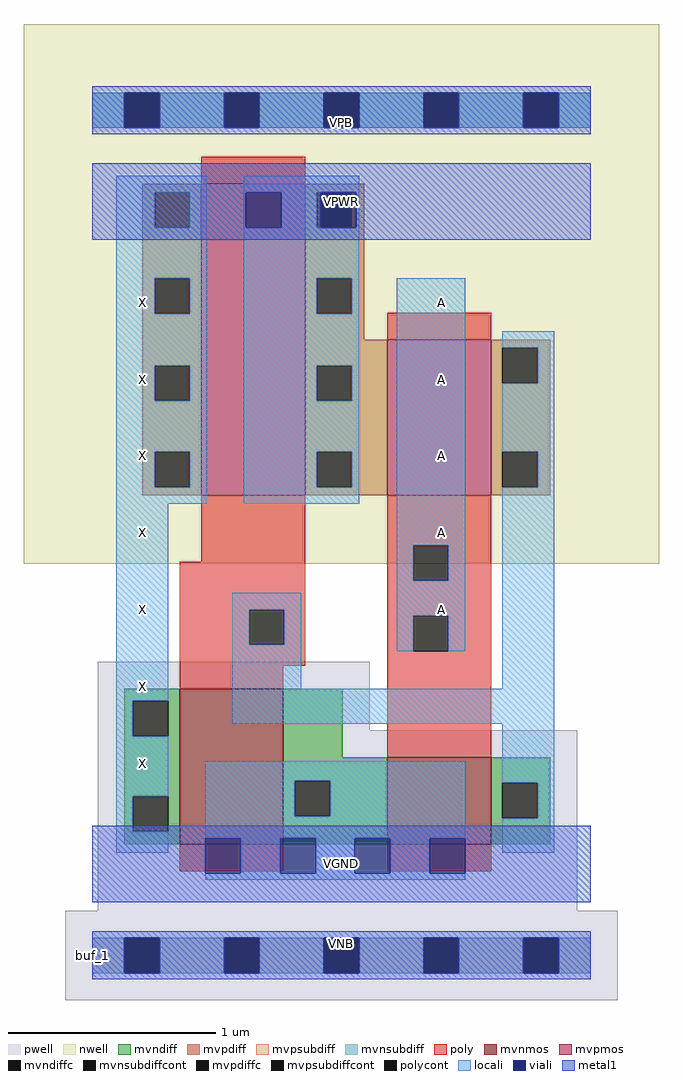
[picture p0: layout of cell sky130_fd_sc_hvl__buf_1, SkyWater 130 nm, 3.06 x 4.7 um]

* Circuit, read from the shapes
.subckt sky130_fd_sc_hvl__buf_1 A VGND VNB VPB VPWR X
XM1 VGND n1 X VNB sky130_fd_pr__nfet_g5v0d10v5 w=0.75 l=0.5
XM2 n1 A VGND VNB sky130_fd_pr__nfet_g5v0d10v5 w=0.42 l=0.5
XM3 VPWR n1 X VPB sky130_fd_pr__pfet_g5v0d10v5 w=1.5 l=0.5
XM4 n1 A VPWR VPB sky130_fd_pr__pfet_g5v0d10v5 w=0.75 l=0.5
.ends

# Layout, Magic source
magic
tech sky130A
magscale 1 2
<< nwell >>
rect -66 377 546 897
<< pwell >>
rect 5 217 267 283
rect 5 43 467 217
rect -26 -43 506 43
<< mvnmos >>
rect 84 107 184 257
rect 284 107 384 191
<< mvpmos >>
rect 105 443 205 743
rect 284 443 384 593
<< mvndiff >>
rect 31 245 84 257
rect 31 211 39 245
rect 73 211 84 245
rect 31 153 84 211
rect 31 119 39 153
rect 73 119 84 153
rect 31 107 84 119
rect 184 191 241 257
rect 184 168 284 191
rect 184 134 195 168
rect 229 134 284 168
rect 184 107 284 134
rect 384 166 441 191
rect 384 132 395 166
rect 429 132 441 166
rect 384 107 441 132
<< mvpdiff >>
rect 48 735 105 743
rect 48 701 60 735
rect 94 701 105 735
rect 48 652 105 701
rect 48 618 60 652
rect 94 618 105 652
rect 48 568 105 618
rect 48 534 60 568
rect 94 534 105 568
rect 48 485 105 534
rect 48 451 60 485
rect 94 451 105 485
rect 48 443 105 451
rect 205 735 262 743
rect 205 701 216 735
rect 250 701 262 735
rect 205 652 262 701
rect 205 618 216 652
rect 250 618 262 652
rect 205 593 262 618
rect 205 568 284 593
rect 205 534 216 568
rect 250 534 284 568
rect 205 485 284 534
rect 205 451 216 485
rect 250 451 284 485
rect 205 443 284 451
rect 384 585 441 593
rect 384 551 395 585
rect 429 551 441 585
rect 384 485 441 551
rect 384 451 395 485
rect 429 451 441 485
rect 384 443 441 451
<< mvndiffc >>
rect 39 211 73 245
rect 39 119 73 153
rect 195 134 229 168
rect 395 132 429 166
<< mvpdiffc >>
rect 60 701 94 735
rect 60 618 94 652
rect 60 534 94 568
rect 60 451 94 485
rect 216 701 250 735
rect 216 618 250 652
rect 216 534 250 568
rect 216 451 250 485
rect 395 551 429 585
rect 395 451 429 485
<< mvpsubdiff >>
rect 0 -17 31 17
rect 65 -17 127 17
rect 161 -17 223 17
rect 257 -17 319 17
rect 353 -17 415 17
rect 449 -17 480 17
<< mvnsubdiff >>
rect 0 797 31 831
rect 65 797 127 831
rect 161 797 223 831
rect 257 797 319 831
rect 353 797 415 831
rect 449 797 480 831
<< mvpsubdiffcont >>
rect 31 -17 65 17
rect 127 -17 161 17
rect 223 -17 257 17
rect 319 -17 353 17
rect 415 -17 449 17
<< mvnsubdiffcont >>
rect 31 797 65 831
rect 127 797 161 831
rect 223 797 257 831
rect 319 797 353 831
rect 415 797 449 831
<< poly >>
rect 105 743 205 769
rect 284 593 384 619
rect 105 379 205 443
rect 84 333 205 379
rect 84 299 151 333
rect 185 299 205 333
rect 84 279 205 299
rect 284 395 384 443
rect 284 361 309 395
rect 343 361 384 395
rect 284 327 384 361
rect 284 293 309 327
rect 343 293 384 327
rect 84 257 184 279
rect 284 191 384 293
rect 84 81 184 107
rect 284 81 384 107
<< polycont >>
rect 151 299 185 333
rect 309 361 343 395
rect 309 293 343 327
<< locali >>
rect 0 797 31 831
rect 65 797 127 831
rect 161 797 223 831
rect 257 797 319 831
rect 353 797 415 831
rect 449 797 480 831
rect 23 735 110 751
rect 23 701 60 735
rect 94 701 110 735
rect 23 652 110 701
rect 23 618 60 652
rect 94 618 110 652
rect 23 568 110 618
rect 23 534 60 568
rect 94 534 110 568
rect 23 485 110 534
rect 23 451 60 485
rect 94 451 110 485
rect 23 435 110 451
rect 146 735 257 751
rect 146 701 148 735
rect 182 701 216 735
rect 254 701 257 735
rect 146 652 257 701
rect 146 618 216 652
rect 250 618 257 652
rect 146 568 257 618
rect 146 534 216 568
rect 250 534 257 568
rect 146 485 257 534
rect 146 451 216 485
rect 250 451 257 485
rect 146 435 257 451
rect 23 245 73 435
rect 293 395 359 652
rect 293 361 309 395
rect 343 361 359 395
rect 23 211 39 245
rect 135 333 201 349
rect 135 299 151 333
rect 185 299 201 333
rect 135 257 201 299
rect 293 327 359 361
rect 293 293 309 327
rect 343 293 359 327
rect 395 585 445 601
rect 429 551 445 585
rect 395 485 445 551
rect 429 451 445 485
rect 395 257 445 451
rect 135 223 445 257
rect 23 153 73 211
rect 23 119 39 153
rect 23 99 73 119
rect 109 168 359 187
rect 109 134 195 168
rect 229 134 359 168
rect 109 113 359 134
rect 143 79 181 113
rect 215 79 253 113
rect 287 79 325 113
rect 395 166 445 223
rect 429 132 445 166
rect 395 99 445 132
rect 109 73 359 79
rect 0 -17 31 17
rect 65 -17 127 17
rect 161 -17 223 17
rect 257 -17 319 17
rect 353 -17 415 17
rect 449 -17 480 17
<< viali >>
rect 31 797 65 831
rect 127 797 161 831
rect 223 797 257 831
rect 319 797 353 831
rect 415 797 449 831
rect 148 701 182 735
rect 220 701 250 735
rect 250 701 254 735
rect 109 79 143 113
rect 181 79 215 113
rect 253 79 287 113
rect 325 79 359 113
rect 31 -17 65 17
rect 127 -17 161 17
rect 223 -17 257 17
rect 319 -17 353 17
rect 415 -17 449 17
<< metal1 >>
rect 0 831 480 837
rect 0 797 31 831
rect 65 797 127 831
rect 161 797 223 831
rect 257 797 319 831
rect 353 797 415 831
rect 449 797 480 831
rect 0 791 480 797
rect 0 735 480 763
rect 0 701 148 735
rect 182 701 220 735
rect 254 701 480 735
rect 0 689 480 701
rect 0 113 480 125
rect 0 79 109 113
rect 143 79 181 113
rect 215 79 253 113
rect 287 79 325 113
rect 359 79 480 113
rect 0 51 480 79
rect 0 17 480 23
rect 0 -17 31 17
rect 65 -17 127 17
rect 161 -17 223 17
rect 257 -17 319 17
rect 353 -17 415 17
rect 449 -17 480 17
rect 0 -23 480 -17
<< labels >>
rlabel comment s 0 0 0 0 4 buf_1
flabel metal1 s 0 51 480 125 0 FreeSans 340 0 0 0 VGND
port 2 nsew ground bidirectional
flabel metal1 s 0 0 480 23 0 FreeSans 340 0 0 0 VNB
port 3 nsew ground bidirectional
flabel metal1 s 0 689 480 763 0 FreeSans 340 0 0 0 VPWR
port 5 nsew power bidirectional
flabel metal1 s 0 791 480 814 0 FreeSans 340 0 0 0 VPB
port 4 nsew power bidirectional
flabel locali s 319 316 353 350 0 FreeSans 340 0 0 0 A
port 1 nsew signal input
flabel locali s 319 390 353 424 0 FreeSans 340 0 0 0 A
port 1 nsew signal input
flabel locali s 319 464 353 498 0 FreeSans 340 0 0 0 A
port 1 nsew signal input
flabel locali s 319 538 353 572 0 FreeSans 340 0 0 0 A
port 1 nsew signal input
flabel locali s 319 612 353 646 0 FreeSans 340 0 0 0 A
port 1 nsew signal input
flabel locali s 31 168 65 202 0 FreeSans 340 0 0 0 X
port 6 nsew signal output
flabel locali s 31 242 65 276 0 FreeSans 340 0 0 0 X
port 6 nsew signal output
flabel locali s 31 316 65 350 0 FreeSans 340 0 0 0 X
port 6 nsew signal output
flabel locali s 31 390 65 424 0 FreeSans 340 0 0 0 X
port 6 nsew signal output
flabel locali s 31 464 65 498 0 FreeSans 340 0 0 0 X
port 6 nsew signal output
flabel locali s 31 538 65 572 0 FreeSans 340 0 0 0 X
port 6 nsew signal output
flabel locali s 31 612 65 646 0 FreeSans 340 0 0 0 X
port 6 nsew signal output
<< properties >>
string FIXED_BBOX 0 0 480 814
string GDS_END 821242
string GDS_FILE $PDKPATH/libs.ref/sky130_fd_sc_hvl/gds/sky130_fd_sc_hvl.gds
string GDS_START 813686
string LEFclass CORE
string LEFsite unithv
string LEFsymmetry X Y
<< end >>
